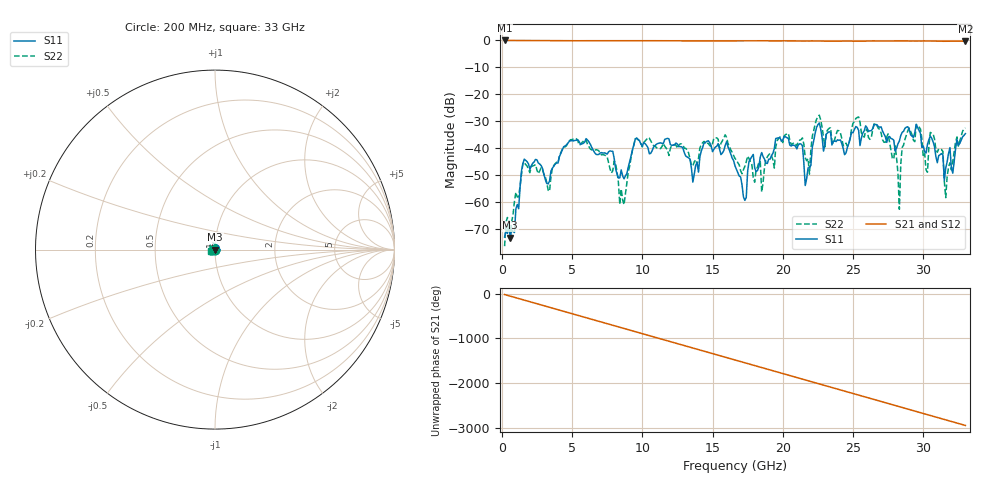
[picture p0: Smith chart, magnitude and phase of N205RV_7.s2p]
# GHZ S RI R 50
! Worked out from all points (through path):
!   329 points, 200 MHz to 33 GHz, reference 50 ohm
!   highest |S21| = -0.01 dB at 200 MHz (marker M1); lowest = -0.4 dB at 33 GHz (marker M2)
!   group delay of S21, straight-line fit = 248 ps
!   lowest |S11| = -73.1 dB at 600 MHz (marker M3), VSWR 1.00, Z = 50 + j0.0219 ohm
!   |S11| at or under -10 dB: start of sweep to end of sweep
!   |S22| runs from -76.2 to -27.7 dB; largest |S21 - S12| = 0.0019
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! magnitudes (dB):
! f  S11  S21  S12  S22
! 200 MHz  -72.9  0.0  0.0  -76.2
! 600 MHz  -73.1  0.0  0.0  -71.6
! 1.6 GHz  -44.0  0.0  0.0  -45.3
! 3.4 GHz  -52.1  -0.1  -0.1  -55.9
! 5.7 GHz  -38.4  -0.1  -0.1  -37.9
! 8.4 GHz  -50.9  -0.1  -0.1  -60.7
! 9.5 GHz  -36.6  -0.1  -0.1  -36.4
! 11.2 GHz  -38.1  -0.1  -0.1  -40.2
! 16.6 GHz  -46.5  -0.2  -0.2  -43.7
! 17.3 GHz  -59.2  -0.2  -0.2  -46.7
! 18.5 GHz  -41.6  -0.1  -0.1  -56.2
! 19.8 GHz  -36.1  -0.2  -0.2  -35.8
! 21.6 GHz  -53.8  -0.2  -0.2  -43.4
! 22.1 GHz  -39.7  -0.2  -0.2  -35.6
! 27.6 GHz  -35.6  -0.2  -0.2  -37.7
! 28 GHz  -41.0  -0.2  -0.2  -39.1
! 28.3 GHz  -37.3  -0.2  -0.2  -62.6
! 28.5 GHz  -34.1  -0.2  -0.2  -39.6
! 29 GHz  -33.0  -0.2  -0.2  -32.5
! 31.4 GHz  -42.4  -0.3  -0.3  -41.2
! 31.6 GHz  -47.3  -0.3  -0.3  -58.3
! 33 GHz  -34.5  -0.4  -0.4  -32.4
